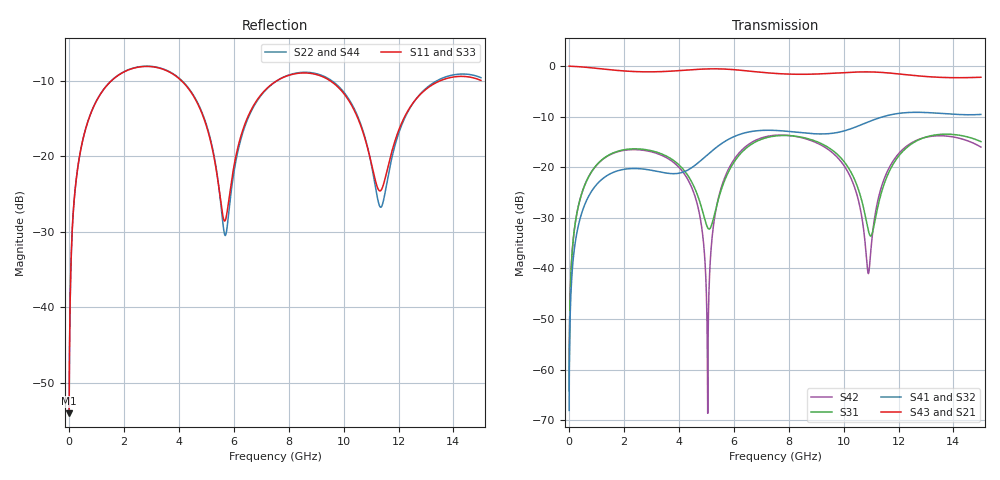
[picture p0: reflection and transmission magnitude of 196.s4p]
! Created with skrf 1.8.0 (http://scikit-rf.org).
# GHz S RI R 50.0
!freq ReS11 ImS11 ReS12 ImS12 ReS13 ImS13
! ReS14 ImS14
! ReS21 ImS21 ReS22 ImS22 ReS23 ImS23
! ReS24 ImS24
! ReS31 ImS31 ReS32 ImS32 ReS33 ImS33
! ReS34 ImS34
! ReS41 ImS41 ReS42 ImS42 ReS43 ImS43
! ReS44 ImS44
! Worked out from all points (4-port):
!   2499 points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, 5 MHz to 15 GHz, reference 50 ohm
!   strongest paths, dB at 5 MHz, 3.476 GHz, 7.19 GHz, 11.1 GHz, 15 GHz:
!     S43: 0.0, -1.1, -1.3, -1.2, -2.2
!     S21: 0.0, -1.1, -1.3, -1.2, -2.2
!     S41: -68.1, -21.1, -12.7, -10.6, -9.6
!     S32: -68.1, -21.2, -12.7, -10.6, -9.7
!     S31: -64.2, -17.6, -14.2, -31.8, -14.9
!     S42: -64.2, -17.9, -13.9, -31.2, -16.0
!   lowest |S11| = -54.0 dB at 5 MHz (marker M1), VSWR 1.00, Z = 50.2 + j0.121 ohm
!   |S11| at or under -10 dB: start of sweep to 1.536 GHz; 4.106 GHz to 7.555 GHz (3.449 GHz wide, 59.2 % of centre); 9.524 GHz to 13.5 GHz (3.973 GHz wide, 34.5 % of centre)
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0.005  0.00158 0.0012  0.9984 -0.00308  7.89e-05 0.000614  -7.67e-05 -0.000387
       0.9984 -0.00308  0.00158 0.0012  -7.67e-05 -0.000387  7.88e-05 0.000614
       7.89e-05 0.000614  -7.67e-05 -0.000387  0.00158 0.00121  0.9984 -0.00308
       -7.67e-05 -0.000387  7.88e-05 0.000614  0.9984 -0.00308  0.00158 0.00121
0.3126303  0.0226 0.0795  0.9692 -0.192  0.0103 0.0365  -0.00846 -0.0229
           0.9692 -0.192  0.0227 0.0795  -0.00845 -0.0229  0.00997 0.0366
           0.0103 0.0365  -0.00845 -0.0229  0.0226 0.0795  0.9692 -0.192
           -0.00846 -0.0229  0.00997 0.0366  0.9692 -0.192  0.0227 0.0795
1.519383  0.2531 0.1861  0.5856 -0.7081  0.1202 0.0617  -0.0858 -0.0121
          0.5856 -0.7081  0.2544 0.1852  -0.0856 -0.0123  0.1164 0.0663
          0.1202 0.0617  -0.0856 -0.0123  0.2532 0.186  0.5856 -0.7081
          -0.0858 -0.0121  0.1164 0.0663  0.5856 -0.7081  0.2543 0.1853
5.045852  0.0809 -0.1269  -0.8513 -0.3935  -0.0222 -0.0124  -0.0503 0.1233
          -0.8513 -0.3935  0.0752 -0.1336  -0.0533 0.122  0.00035 -0.000401
          -0.0222 -0.0124  -0.0533 0.122  0.0802 -0.1269  -0.8514 -0.3936
          -0.0503 0.1233  0.00035 -0.000401  -0.8514 -0.3936  0.0756 -0.1331
6.640267  0.1463 0.1429  -0.7841 0.4169  0.119 0.1191  0.1421 0.1753
          -0.7841 0.4169  0.1393 0.1435  0.1375 0.1778  0.1322 0.1151
          0.119 0.1191  0.1375 0.1778  0.1472 0.1436  -0.7841 0.4167
          0.1421 0.1753  0.1322 0.1151  -0.7841 0.4167  0.1384 0.1432
11.26094  0.0591 -0.0137  0.8501 0.1847  -0.0079 0.0415  0.0484 -0.3014
          0.8501 0.1847  0.0461 -0.0202  0.0644 -0.2985  0.00386 0.0485
          -0.0079 0.0415  0.0644 -0.2985  0.0537 -0.0135  0.85 0.1854
          0.0484 -0.3014  0.00386 0.0485  0.85 0.1854  0.0511 -0.0195
15  0.3087 -0.081  -0.1227 -0.7654  0.0926 -0.1534  -0.3108 0.1192
    -0.1227 -0.7654  0.3174 -0.1004  -0.3149 0.0945  0.0934 -0.1279
    0.0926 -0.1534  -0.3149 0.0945  0.309 -0.0884  -0.1214 -0.7662
    -0.3108 0.1192  0.0934 -0.1279  -0.1214 -0.7662  0.3144 -0.092
